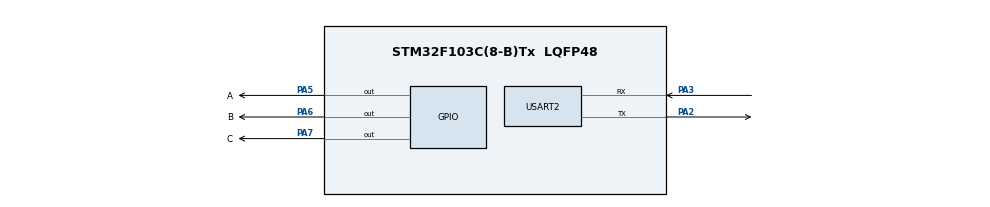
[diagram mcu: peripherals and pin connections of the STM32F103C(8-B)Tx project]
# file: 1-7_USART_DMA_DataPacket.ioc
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Dma.Request0=USART2_RX
Dma.Request1=USART2_TX
Dma.USART2_RX.0.Direction=DMA_PERIPH_TO_MEMORY
Dma.USART2_RX.0.Instance=DMA1_Channel6
Dma.USART2_RX.0.MemDataAlignment=DMA_MDATAALIGN_BYTE
Dma.USART2_RX.0.MemInc=DMA_MINC_ENABLE
Dma.USART2_RX.0.Mode=DMA_NORMAL
Dma.USART2_RX.0.PeriphDataAlignment=DMA_PDATAALIGN_BYTE
Dma.USART2_RX.0.PeriphInc=DMA_PINC_DISABLE
Dma.USART2_RX.0.Priority=DMA_PRIORITY_LOW
Dma.USART2_TX.1.Direction=DMA_MEMORY_TO_PERIPH
Dma.USART2_TX.1.Instance=DMA1_Channel7
Dma.USART2_TX.1.MemDataAlignment=DMA_MDATAALIGN_BYTE
Dma.USART2_TX.1.MemInc=DMA_MINC_ENABLE
Dma.USART2_TX.1.Mode=DMA_NORMAL
Dma.USART2_TX.1.PeriphDataAlignment=DMA_PDATAALIGN_BYTE
Dma.USART2_TX.1.PeriphInc=DMA_PINC_DISABLE
Dma.USART2_TX.1.Priority=DMA_PRIORITY_LOW
Mcu.Family=STM32F1
Mcu.Name=STM32F103C(8-B)Tx
Mcu.Package=LQFP48
NVIC.DMA1_Channel6_IRQn=true\:0\:0\:false\:false\:true\:false\:true\:true
NVIC.DMA1_Channel7_IRQn=true\:0\:0\:false\:false\:true\:false\:true\:true
NVIC.PriorityGroup=NVIC_PRIORITYGROUP_4
PA13.Mode=Serial_Wire
PA13.Signal=SYS_JTMS-SWDIO
PA14.Mode=Serial_Wire
PA14.Signal=SYS_JTCK-SWCLK
PA2.Mode=Asynchronous
PA2.Signal=USART2_TX
PA3.Mode=Asynchronous
PA3.Signal=USART2_RX
PA5.GPIO_Label=A
PA5.Signal=GPIO_Output
PA6.GPIO_Label=B
PA6.Signal=GPIO_Output
PA7.GPIO_Label=C
PA7.Signal=GPIO_Output
ProjectManager.HeapSize=0x200
ProjectManager.StackSize=0x400
ProjectManager.TargetToolchain=STM32CubeIDE
RCC.APB1Freq_Value=8000000
RCC.APB2Freq_Value=8000000
USART2.VirtualMode=VM_ASYNC
board=custom

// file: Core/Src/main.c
/* USER CODE BEGIN Header */
/**
  ******************************************************************************
  * @file           : main.c
  * @brief          : Main program body
  ******************************************************************************
  * @attention
  *
  * Copyright (c) 2025 STMicroelectronics.
  * All rights reserved.
  *
  * This software is licensed under terms that can be found in the LICENSE file
  * in the root directory of this software component.
  * If no LICENSE file comes with this software, it is provided AS-IS.
  *
  ******************************************************************************
  */
/* USER CODE END Header */
#include "main.h"

/* USER CODE BEGIN Includes */
#include "string.h"
/* USER CODE END Includes */

UART_HandleTypeDef huart2;
DMA_HandleTypeDef hdma_usart2_rx;
DMA_HandleTypeDef hdma_usart2_tx;

/* USER CODE BEGIN PV */

char receivData[20];//数据包

GPIO_PinState state = GPIO_PIN_RESET;//IO口状态

/* USER CODE END PV */

void SystemClock_Config(void);
static void MX_GPIO_Init(void);
static void MX_DMA_Init(void);
static void MX_USART2_UART_Init(void);

/* USER CODE BEGIN 0 */

//重定义'接收事件回调'函数(DMA传输过半和完成都会触发此函数)
void HAL_UARTEx_RxEventCallback(UART_HandleTypeDef *huart, uint16_t Size){
	if(huart == &huart2){
	  HAL_UART_Transmit_DMA(&huart2,  (uint8_t*)receivData,Size);//开启中断发送,将本次接收到的数据发回

	  /*规定数据包由: [ 0xAA + 长度 + (多字节数据) + 校验和 ] 组成*/

	  if(receivData[0] == 0xAA){//数据包头
		  if(receivData[1] == Size){//校验数据包长度
			  /*计算校验和*/
			uint16_t sun = 0;
			for (uint16_t i = 0 ; i < Size-1; i++) {
				sun += receivData[i];
			}
			if(sun == receivData[Size = 1]){//判断校验和是否正确

				/*都校验无误进行数据处理*/
				for(uint16_t i = 2; i < Size-1; i+=2){//从第三个每两个字节控制一个小灯
					state = GPIO_PIN_RESET;
					if(receivData[i+1] == 0xFF){
						state = GPIO_PIN_SET;//状态设置为高电平
					}

					if(receivData[i] == 0x01){
						HAL_GPIO_WritePin(A_GPIO_Port, A_Pin, state);//将 A端口 设置状态为 state
					}
					else if(receivData[i] == 0x02){
						HAL_GPIO_WritePin(B_GPIO_Port, B_Pin, state);//将 B端口 设置状态为 state
					}
					else if(receivData[i] == 0x03){
						HAL_GPIO_WritePin(C_GPIO_Port, C_Pin, state);//将 B端口 设置状态为 state
					}
				}
			}
		  }
	  }

	  HAL_UARTEx_ReceiveToIdle_DMA(&huart2, (uint8_t*)receivData, sizeof(receivData));//开启下一次接收
	  __HAL_DMA_DISABLE_IT(&hdma_usart2_rx, DMA_IT_HT);//关闭DMA接收过半中断
	}

}
/* USER CODE END 0 */

int main(void)
{

  /* MCU Configuration--------------------------------------------------------*/

  /* Reset of all peripherals, Initializes the Flash interface and the Systick. */
  HAL_Init();

  /* Configure the system clock */
  SystemClock_Config();

  /* Initialize all configured peripherals */
  MX_GPIO_Init();
  MX_DMA_Init();
  MX_USART2_UART_Init();
  /* USER CODE BEGIN 2 */

  //HAL_UART_Receive_DMA(&huart2, (uint8_t*)receivData, strlen(receivData));//开启中断接收
    HAL_UARTEx_ReceiveToIdle_DMA(&huart2, (uint8_t*)receivData, sizeof(receivData));//不定长数据接收
    __HAL_DMA_DISABLE_IT(&hdma_usart2_rx, DMA_IT_HT);//关闭DMA接收过半中断
  /* USER CODE END 2 */

  /* Infinite loop */
  /* USER CODE BEGIN WHILE */
  while (1)
   {
	  /*主进程代码*/

    /* USER CODE END WHILE */

   }
}

void SystemClock_Config(void)
{
  RCC_OscInitTypeDef RCC_OscInitStruct = {0};
  RCC_ClkInitTypeDef RCC_ClkInitStruct = {0};

  /** Initializes the RCC Oscillators according to the specified parameters
  * in the RCC_OscInitTypeDef structure.
  */
  RCC_OscInitStruct.OscillatorType = RCC_OSCILLATORTYPE_HSI;
  RCC_OscInitStruct.HSIState = RCC_HSI_ON;
  RCC_OscInitStruct.HSICalibrationValue = RCC_HSICALIBRATION_DEFAULT;
  RCC_OscInitStruct.PLL.PLLState = RCC_PLL_NONE;
  if (HAL_RCC_OscConfig(&RCC_OscInitStruct) != HAL_OK)
  {
    Error_Handler();
  }

  /** Initializes the CPU, AHB and APB buses clocks
  */
  RCC_ClkInitStruct.ClockType = RCC_CLOCKTYPE_HCLK|RCC_CLOCKTYPE_SYSCLK
                              |RCC_CLOCKTYPE_PCLK1|RCC_CLOCKTYPE_PCLK2;
  RCC_ClkInitStruct.SYSCLKSource = RCC_SYSCLKSOURCE_HSI;
  RCC_ClkInitStruct.AHBCLKDivider = RCC_SYSCLK_DIV1;
  RCC_ClkInitStruct.APB1CLKDivider = RCC_HCLK_DIV1;
  RCC_ClkInitStruct.APB2CLKDivider = RCC_HCLK_DIV1;

  if (HAL_RCC_ClockConfig(&RCC_ClkInitStruct, FLASH_LATENCY_0) != HAL_OK)
  {
    Error_Handler();
  }
}

static void MX_USART2_UART_Init(void)
{

  huart2.Instance = USART2;
  huart2.Init.BaudRate = 115200;
  huart2.Init.WordLength = UART_WORDLENGTH_8B;
  huart2.Init.StopBits = UART_STOPBITS_1;
  huart2.Init.Parity = UART_PARITY_NONE;
  huart2.Init.Mode = UART_MODE_TX_RX;
  huart2.Init.HwFlowCtl = UART_HWCONTROL_NONE;
  huart2.Init.OverSampling = UART_OVERSAMPLING_16;
  if (HAL_UART_Init(&huart2) != HAL_OK)
  {
    Error_Handler();
  }

}

static void MX_DMA_Init(void)
{

  /* DMA controller clock enable */
  __HAL_RCC_DMA1_CLK_ENABLE();

  /* DMA interrupt init */
  /* DMA1_Channel6_IRQn interrupt configuration */
  HAL_NVIC_SetPriority(DMA1_Channel6_IRQn, 0, 0);
  HAL_NVIC_EnableIRQ(DMA1_Channel6_IRQn);
  /* DMA1_Channel7_IRQn interrupt configuration */
  HAL_NVIC_SetPriority(DMA1_Channel7_IRQn, 0, 0);
  HAL_NVIC_EnableIRQ(DMA1_Channel7_IRQn);

}

static void MX_GPIO_Init(void)
{
  GPIO_InitTypeDef GPIO_InitStruct = {0};

  /* GPIO Ports Clock Enable */
  __HAL_RCC_GPIOA_CLK_ENABLE();

  /*Configure GPIO pin Output Level */
  HAL_GPIO_WritePin(GPIOA, A_Pin|B_Pin|C_Pin, GPIO_PIN_RESET);

  /*Configure GPIO pins : A_Pin B_Pin C_Pin */
  GPIO_InitStruct.Pin = A_Pin|B_Pin|C_Pin;
  GPIO_InitStruct.Mode = GPIO_MODE_OUTPUT_PP;
  GPIO_InitStruct.Pull = GPIO_NOPULL;
  GPIO_InitStruct.Speed = GPIO_SPEED_FREQ_LOW;
  HAL_GPIO_Init(GPIOA, &GPIO_InitStruct);

}

void Error_Handler(void)
{
  __disable_irq();
  while (1)
  {
  }
}
